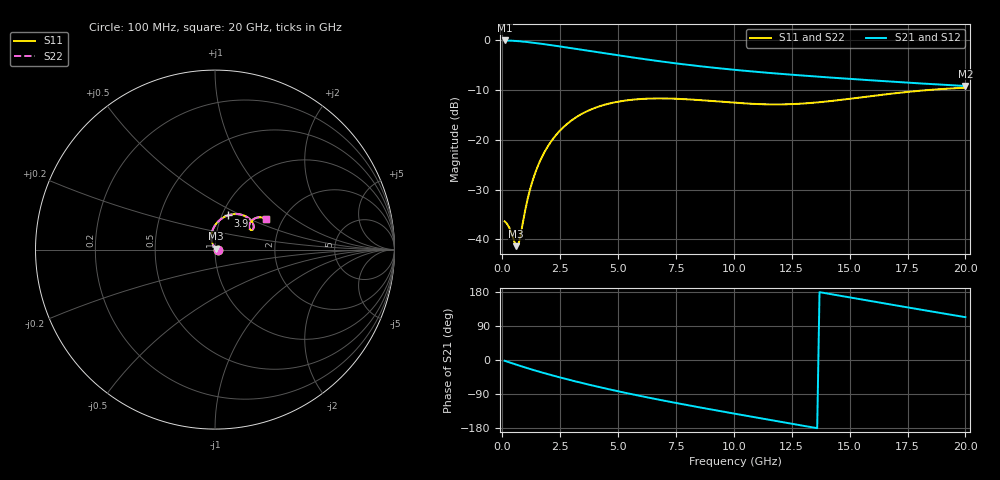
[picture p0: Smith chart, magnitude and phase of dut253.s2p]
! Created with skrf 1.9.0 (http://scikit-rf.org).
# GHz S RI R 50.0
!freq ReS11 ImS11 ReS21 ImS21 ReS12 ImS12 ReS22 ImS22
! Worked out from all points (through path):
!   200 points, 100 MHz to 20 GHz, reference 50 ohm
!   highest |S21| = -0.14 dB at 100 MHz (marker M1); lowest = -9.3 dB at 20 GHz (marker M2)
!   group delay of S21, straight-line fit = 32.5 ps
!   lowest |S11| = -41.4 dB at 600 MHz (marker M3), VSWR 1.02, Z = 50.6 + j0.6 ohm
!   |S11| at or under -10 dB: start of sweep to 18.58 GHz
!   |S22| runs from -41.4 to -9.6 dB; largest |S21 - S12| = 2e-15
!   S11 on the Smith chart (normalised r, x): 100 MHz: 1.03, +0.00; 3.9 GHz: 1.07, +0.42; 20 GHz: 1.64, +0.63
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0.1  0.0152 0.000414  0.9836 -0.0353  0.9836 -0.0353  0.0152 0.000414
0.3  0.013 0.0017  0.9757 -0.1051  0.9757 -0.1051  0.013 0.0017
0.6  0.00618 0.00592  0.9504 -0.2053  0.9504 -0.2053  0.00618 0.00592
0.7  0.0032 0.00832  0.9389 -0.237  0.9389 -0.237  0.0032 0.00832
0.8  5.13e-05 0.0113  0.9259 -0.2677  0.9259 -0.2677  5.13e-05 0.0113
1  -0.00636 0.0191  0.8964 -0.3258  0.8964 -0.3258  -0.00636 0.0191
1.2  -0.0122 0.0293  0.8627 -0.3793  0.8627 -0.3793  -0.0122 0.0293
1.4  -0.0169 0.0416  0.8258 -0.428  0.8258 -0.428  -0.0169 0.0416
1.7  -0.0205 0.0628  0.766 -0.4924  0.766 -0.4924  -0.0205 0.0628
2.1  -0.0178 0.0935  0.6812 -0.5629  0.6812 -0.5629  -0.0178 0.0935
2.5  -0.0068 0.1234  0.5936 -0.6173  0.5936 -0.6173  -0.0068 0.1234
3.5  0.046 0.1786  0.3766 -0.6944  0.3766 -0.6944  0.046 0.1786
3.9  0.0716 0.1904  0.2943 -0.7056  0.2943 -0.7056  0.0716 0.1904
5.4  0.1574 0.1912  0.0263 -0.6766  0.0263 -0.6766  0.1574 0.1912
6.8  0.2025 0.1606  -0.1592 -0.5879  -0.1592 -0.5879  0.2025 0.1606
8.4  0.2157 0.126  -0.3035 -0.4559  -0.3035 -0.4559  0.2157 0.126
10.1  0.2061 0.1093  -0.3946 -0.304  -0.3946 -0.304  0.2061 0.1093
11.7  0.1937 0.1146  -0.4331 -0.1608  -0.4331 -0.1608  0.1937 0.1146
13.4  0.1904 0.1351  -0.4305 -0.0165  -0.4305 -0.0165  0.1904 0.1351
16.7  0.2263 0.1758  -0.3214 0.2069  -0.3214 0.2069  0.2263 0.1758
18.3  0.2552 0.1802  -0.2355 0.2756  -0.2355 0.2756  0.2552 0.1802
20  0.283 0.171  -0.1345 0.3169  -0.1345 0.3169  0.283 0.171
